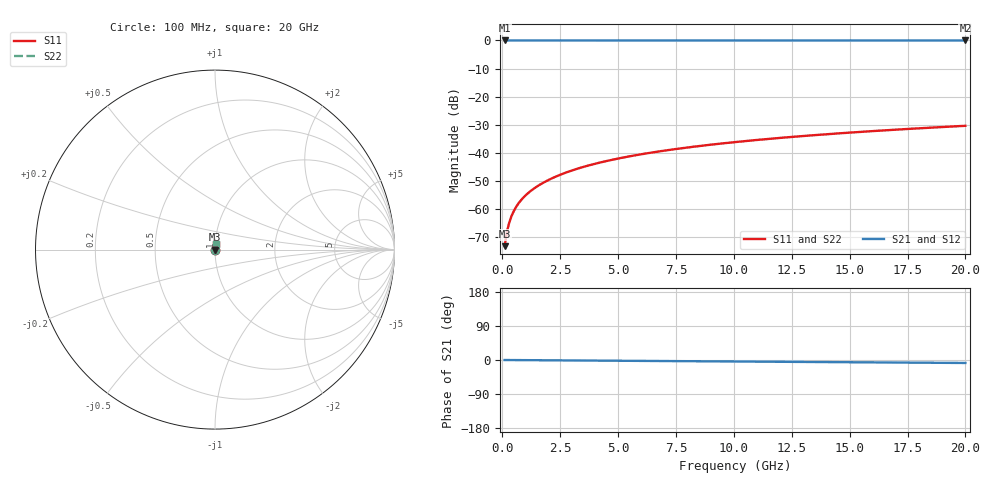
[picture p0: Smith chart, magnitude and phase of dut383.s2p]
! Touchstone file exported from HFSS 2026.1.0
!  File:  C:/ffzhzh/LocalFiles/Ansys_Project_Files/temp_train_TSV_383_1783019853_55676.aedt
!  Generated:  03:19:28 AM Jul  3, 2026
!  Design:  TSV
!  Project:  temp_train_TSV_383_1783019853_55676
! Variables:
!  h_bsmrdl = 2um
!  h_ox = 20um
!  h_rdl = 5um
!  h_sub = 72.46um
!  h_tmrdl = 5um
!  h_tsv = 72.46um
!  h_via = 3um
!  l_bsmrdl = 300um
!  l_sub = 420.76um
!  l_tmrdl = 200um
!  m_sub = 200um
!  pitch = 53.96um
!  r_tsv = 10.38um
!  s_tmrdl = 10um
!  w_bsmrdl = 18um
!  w_sub = 500um
!  w_tmrdl = 12um
!  x_tsv_center1 = 206um
!  x_tsv_center2 = 524um
!  x_tsv_center3 = 736um
!  x_tsv_center4 = 1054um
!  x_tsv_center5 = 1266um
!  x_tsv_center6 = 1584um
# GHz S MA R 50.000000
! Terminal data exported
! Port[1] = TSV1_1_T1
! Port[2] = TSV1_1_T2
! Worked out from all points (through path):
!   200 points, 100 MHz to 20 GHz, reference 50 ohm
!   highest |S21| = 0.00 dB at 100 MHz (marker M1); lowest = 0.0 dB at 20 GHz (marker M2)
!   group delay of S21, straight-line fit = 1.09 ps
!   lowest |S11| = -73.2 dB at 100 MHz (marker M3), VSWR 1.00, Z = 50 + j0.0189 ohm
!   |S11| at or under -10 dB: start of sweep to end of sweep
!   |S22| runs from -73.2 to -30.4 dB; largest |S21 - S12| = 3.6e-15
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0.1  0.0002188 59.9  0.9999 -0.0  0.9999 -0.0  0.0002188 59.9
! Gamma 0 0 0 0
! Port Impedance 50 0 50 0
0.2  0.0003949 72.3  0.9999 -0.1  0.9999 -0.1  0.0003949 72.3
0.3  0.0005754 76.3  0.9999 -0.1  0.9999 -0.1  0.0005754 76.3
0.4  0.0007534 78.1  0.9998 -0.2  0.9998 -0.2  0.0007534 78.1
0.5  0.0009272 79.0  0.9998 -0.2  0.9998 -0.2  0.0009272 79.0
0.6  0.001097 79.6  0.9998 -0.2  0.9998 -0.2  0.001097 79.6
0.7  0.001263 80.0  0.9998 -0.3  0.9998 -0.3  0.001263 80.0
0.9  0.001586 80.6  0.9997 -0.4  0.9997 -0.4  0.001586 80.6
1.1  0.001903 81.1  0.9997 -0.4  0.9997 -0.4  0.001903 81.1
1.3  0.002215 81.6  0.9997 -0.5  0.9997 -0.5  0.002215 81.6
1.6  0.002682 82.2  0.9997 -0.6  0.9997 -0.6  0.002682 82.2
1.9  0.003147 82.7  0.9996 -0.8  0.9996 -0.8  0.003147 82.7
2.6  0.004231 83.4  0.9996 -1.0  0.9996 -1.0  0.004231 83.4
3.5  0.005622 83.9  0.9995 -1.4  0.9995 -1.4  0.005622 83.9
4.2  0.006699 84.0  0.9995 -1.7  0.9995 -1.7  0.006699 84.0
5  0.007923 84.0  0.9994 -2.0  0.9994 -2.0  0.007923 84.0
6.8  0.01066 83.8  0.9993 -2.7  0.9993 -2.7  0.01066 83.8
8.3  0.01292 83.5  0.9992 -3.3  0.9992 -3.3  0.01292 83.5
10.1  0.01562 83.1  0.9991 -4.0  0.9991 -4.0  0.01562 83.1
13.4  0.02055 82.2  0.9989 -5.3  0.9989 -5.3  0.02055 82.2
16.7  0.02545 81.1  0.9987 -6.6  0.9987 -6.6  0.02545 81.1
20  0.0303 80.0  0.9984 -7.9  0.9984 -7.9  0.0303 80.0
